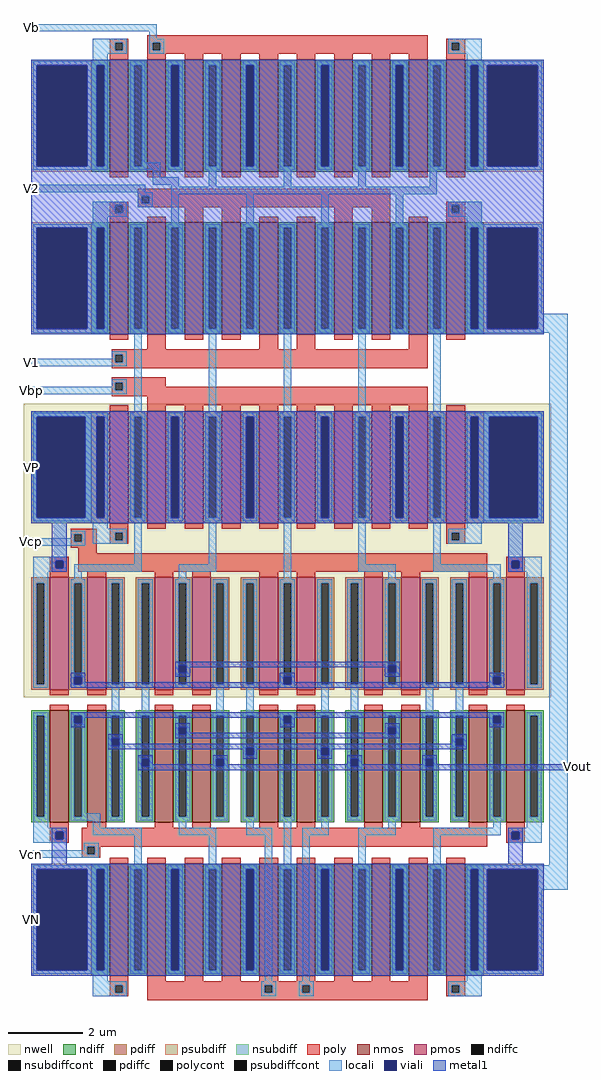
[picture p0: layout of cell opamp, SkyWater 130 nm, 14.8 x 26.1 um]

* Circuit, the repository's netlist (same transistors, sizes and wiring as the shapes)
* SPICE3 file created from opamp.ext - technology: sky130A

*.subckt opamp V1 V2 Vout Vb Vcn Vcp Vbp VP VN
X0 a_100_790# Vcp a_300_80# VP sky130_fd_pr__pfet_01v8 ad=0.75 pd=3.5 as=1.5 ps=7 w=3 l=0.5
X1 a_660_790# Vcp Vout VP sky130_fd_pr__pfet_01v8 ad=0.75 pd=3.5 as=1.5 ps=7 w=3 l=0.5
X2 a_100_790# Vcp a_300_80# VP sky130_fd_pr__pfet_01v8 ad=0.75 pd=3.5 as=1.5 ps=7 w=3 l=0.5
X3 a_300_80# Vcn a_100_80# VN sky130_fd_pr__nfet_01v8 ad=1.5 pd=7 as=0.75 ps=3.5 w=3 l=0.5
X4 a_420_3560# V1 a_100_790# VN sky130_fd_pr__nfet_01v8 ad=0.75 pd=3.5 as=0.75 ps=3.5 w=3 l=0.5
X5 a_420_3560# V2 a_660_790# VN sky130_fd_pr__nfet_01v8 ad=0.75 pd=3.5 as=0.75 ps=3.5 w=3 l=0.5
X6 a_420_3560# V1 a_100_790# VN sky130_fd_pr__nfet_01v8 ad=0.75 pd=3.5 as=0.75 ps=3.5 w=3 l=0.5
X7 Vout Vcp a_660_790# VP sky130_fd_pr__pfet_01v8 ad=1.5 pd=7 as=0.75 ps=3.5 w=3 l=0.5
X8 a_420_3560# V2 a_660_790# VN sky130_fd_pr__nfet_01v8 ad=0.75 pd=3.5 as=0.75 ps=3.5 w=3 l=0.5
X9 a_300_80# Vcp a_100_790# VP sky130_fd_pr__pfet_01v8 ad=1.5 pd=7 as=0.75 ps=3.5 w=3 l=0.5
X10 VP Vbp a_100_790# VP sky130_fd_pr__pfet_01v8 ad=0.75 pd=3.5 as=0.75 ps=3.5 w=3 l=0.5
X11 VP Vbp a_660_790# VP sky130_fd_pr__pfet_01v8 ad=0.75 pd=3.5 as=0.75 ps=3.5 w=3 l=0.5
X12 VP Vbp a_100_790# VP sky130_fd_pr__pfet_01v8 ad=0.75 pd=3.5 as=0.75 ps=3.5 w=3 l=0.5
X13 VN VN a_100_80# VN sky130_fd_pr__nfet_01v8 ad=1.5 pd=7 as=0.75 ps=3.5 w=3 l=0.5
X14 VN Vb a_420_3560# VN sky130_fd_pr__nfet_01v8 ad=0.75 pd=3.5 as=0.75 ps=3.5 w=3 l=0.5
X15 VN Vb a_420_3560# VN sky130_fd_pr__nfet_01v8 ad=0.75 pd=3.5 as=0.75 ps=3.5 w=3 l=0.5
X16 VN Vb a_420_3560# VN sky130_fd_pr__nfet_01v8 ad=0.75 pd=3.5 as=0.75 ps=3.5 w=3 l=0.5
X17 VP Vbp a_660_790# VP sky130_fd_pr__pfet_01v8 ad=0.75 pd=3.5 as=0.75 ps=3.5 w=3 l=0.5
X18 VN Vb a_420_3560# VN sky130_fd_pr__nfet_01v8 ad=0.75 pd=3.5 as=0.75 ps=3.5 w=3 l=0.5
X19 a_660_80# Vcn Vout VN sky130_fd_pr__nfet_01v8 ad=0.75 pd=3.5 as=1.5 ps=7 w=3 l=0.5
X20 a_100_80# Vcn a_300_80# VN sky130_fd_pr__nfet_01v8 ad=0.75 pd=3.5 as=1.5 ps=7 w=3 l=0.5
X21 a_100_80# VN VN VN sky130_fd_pr__nfet_01v8 ad=0.75 pd=3.5 as=1.5 ps=7 w=3 l=0.5
X22 a_100_790# VP VP VP sky130_fd_pr__pfet_01v8 ad=0.75 pd=3.5 as=1.5 ps=7 w=3 l=0.5
X23 VP VP a_100_790# VP sky130_fd_pr__pfet_01v8 ad=1.5 pd=7 as=0.75 ps=3.5 w=3 l=0.5
X24 a_660_80# a_300_80# VN VN sky130_fd_pr__nfet_01v8 ad=0.75 pd=3.5 as=0.75 ps=3.5 w=3 l=0.5
X25 a_100_80# a_300_80# VN VN sky130_fd_pr__nfet_01v8 ad=0.75 pd=3.5 as=0.75 ps=3.5 w=3 l=0.5
X26 Vout Vcp a_660_790# VP sky130_fd_pr__pfet_01v8 ad=1.5 pd=7 as=0.75 ps=3.5 w=3 l=0.5
X27 Vout Vcn a_660_80# VN sky130_fd_pr__nfet_01v8 ad=1.5 pd=7 as=0.75 ps=3.5 w=3 l=0.5
X28 a_660_80# a_300_80# VN VN sky130_fd_pr__nfet_01v8 ad=0.75 pd=3.5 as=0.75 ps=3.5 w=3 l=0.5
X29 a_300_80# Vcp a_100_790# VP sky130_fd_pr__pfet_01v8 ad=1.5 pd=7 as=0.75 ps=3.5 w=3 l=0.5
X30 a_100_80# a_300_80# VN VN sky130_fd_pr__nfet_01v8 ad=0.75 pd=3.5 as=0.75 ps=3.5 w=3 l=0.5
X31 VN VN a_100_790# VN sky130_fd_pr__nfet_01v8 ad=1.5 pd=7 as=0.75 ps=3.5 w=3 l=0.5
X32 a_100_80# Vcn a_300_80# VN sky130_fd_pr__nfet_01v8 ad=0.75 pd=3.5 as=1.5 ps=7 w=3 l=0.5
X33 a_100_790# VN VN VN sky130_fd_pr__nfet_01v8 ad=0.75 pd=3.5 as=1.5 ps=7 w=3 l=0.5
X34 a_300_80# Vcn a_100_80# VN sky130_fd_pr__nfet_01v8 ad=1.5 pd=7 as=0.75 ps=3.5 w=3 l=0.5
X35 a_660_790# V2 a_420_3560# VN sky130_fd_pr__nfet_01v8 ad=0.75 pd=3.5 as=0.75 ps=3.5 w=3 l=0.5
X36 a_100_790# V1 a_420_3560# VN sky130_fd_pr__nfet_01v8 ad=0.75 pd=3.5 as=0.75 ps=3.5 w=3 l=0.5
X37 a_660_790# V2 a_420_3560# VN sky130_fd_pr__nfet_01v8 ad=0.75 pd=3.5 as=0.75 ps=3.5 w=3 l=0.5
X38 a_100_790# V1 a_420_3560# VN sky130_fd_pr__nfet_01v8 ad=0.75 pd=3.5 as=0.75 ps=3.5 w=3 l=0.5
X39 VP VP a_100_790# VP sky130_fd_pr__pfet_01v8 ad=1.5 pd=7 as=0.75 ps=3.5 w=3 l=0.5
X40 VN VN a_420_3560# VN sky130_fd_pr__nfet_01v8 ad=1.5 pd=7 as=0.75 ps=3.5 w=3 l=0.5
X41 a_660_790# Vcp Vout VP sky130_fd_pr__pfet_01v8 ad=0.75 pd=3.5 as=1.5 ps=7 w=3 l=0.5
X42 a_100_790# VP VP VP sky130_fd_pr__pfet_01v8 ad=0.75 pd=3.5 as=1.5 ps=7 w=3 l=0.5
X43 a_420_3560# VN VN VN sky130_fd_pr__nfet_01v8 ad=0.75 pd=3.5 as=1.5 ps=7 w=3 l=0.5
X44 a_660_790# Vbp VP VP sky130_fd_pr__pfet_01v8 ad=0.75 pd=3.5 as=0.75 ps=3.5 w=3 l=0.5
X45 a_100_790# Vbp VP VP sky130_fd_pr__pfet_01v8 ad=0.75 pd=3.5 as=0.75 ps=3.5 w=3 l=0.5
X46 a_660_790# Vbp VP VP sky130_fd_pr__pfet_01v8 ad=0.75 pd=3.5 as=0.75 ps=3.5 w=3 l=0.5
X47 a_420_3560# Vb VN VN sky130_fd_pr__nfet_01v8 ad=0.75 pd=3.5 as=0.75 ps=3.5 w=3 l=0.5
X48 a_420_3560# Vb VN VN sky130_fd_pr__nfet_01v8 ad=0.75 pd=3.5 as=0.75 ps=3.5 w=3 l=0.5
X49 a_100_790# Vbp VP VP sky130_fd_pr__pfet_01v8 ad=0.75 pd=3.5 as=0.75 ps=3.5 w=3 l=0.5
X50 a_420_3560# Vb VN VN sky130_fd_pr__nfet_01v8 ad=0.75 pd=3.5 as=0.75 ps=3.5 w=3 l=0.5
X51 a_100_80# VN VN VN sky130_fd_pr__nfet_01v8 ad=0.75 pd=3.5 as=1.5 ps=7 w=3 l=0.5
X52 Vout Vcn a_660_80# VN sky130_fd_pr__nfet_01v8 ad=1.5 pd=7 as=0.75 ps=3.5 w=3 l=0.5
X53 VN VN a_100_80# VN sky130_fd_pr__nfet_01v8 ad=1.5 pd=7 as=0.75 ps=3.5 w=3 l=0.5
X54 a_420_3560# Vb VN VN sky130_fd_pr__nfet_01v8 ad=0.75 pd=3.5 as=0.75 ps=3.5 w=3 l=0.5
X55 VN a_300_80# a_100_80# VN sky130_fd_pr__nfet_01v8 ad=0.75 pd=3.5 as=0.75 ps=3.5 w=3 l=0.5
X56 a_660_80# Vcn Vout VN sky130_fd_pr__nfet_01v8 ad=0.75 pd=3.5 as=1.5 ps=7 w=3 l=0.5
X57 VN a_300_80# a_660_80# VN sky130_fd_pr__nfet_01v8 ad=0.75 pd=3.5 as=0.75 ps=3.5 w=3 l=0.5
X58 VN a_300_80# a_100_80# VN sky130_fd_pr__nfet_01v8 ad=0.75 pd=3.5 as=0.75 ps=3.5 w=3 l=0.5
X59 VN a_300_80# a_660_80# VN sky130_fd_pr__nfet_01v8 ad=0.75 pd=3.5 as=0.75 ps=3.5 w=3 l=0.5
*.ends

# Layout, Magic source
magic
tech sky130A
<< nwell >>
rect -70 375 1340 1160
<< nmos >>
rect 160 1780 210 2080
rect 260 1780 310 2080
rect 360 1780 410 2080
rect 460 1780 510 2080
rect 560 1780 610 2080
rect 660 1780 710 2080
rect 760 1780 810 2080
rect 860 1780 910 2080
rect 960 1780 1010 2080
rect 1060 1780 1110 2080
rect 160 1345 210 1645
rect 260 1345 310 1645
rect 360 1345 410 1645
rect 460 1345 510 1645
rect 560 1345 610 1645
rect 660 1345 710 1645
rect 760 1345 810 1645
rect 860 1345 910 1645
rect 960 1345 1010 1645
rect 1060 1345 1110 1645
rect 0 40 50 340
rect 100 40 150 340
rect 280 40 330 340
rect 380 40 430 340
rect 560 40 610 340
rect 660 40 710 340
rect 840 40 890 340
rect 940 40 990 340
rect 1120 40 1170 340
rect 1220 40 1270 340
rect 160 -370 210 -70
rect 260 -370 310 -70
rect 360 -370 410 -70
rect 460 -370 510 -70
rect 560 -370 610 -70
rect 660 -370 710 -70
rect 760 -370 810 -70
rect 860 -370 910 -70
rect 960 -370 1010 -70
rect 1060 -370 1110 -70
<< pmos >>
rect 160 840 210 1140
rect 260 840 310 1140
rect 360 840 410 1140
rect 460 840 510 1140
rect 560 840 610 1140
rect 660 840 710 1140
rect 760 840 810 1140
rect 860 840 910 1140
rect 960 840 1010 1140
rect 1060 840 1110 1140
rect 0 395 50 695
rect 100 395 150 695
rect 280 395 330 695
rect 380 395 430 695
rect 560 395 610 695
rect 660 395 710 695
rect 840 395 890 695
rect 940 395 990 695
rect 1120 395 1170 695
rect 1220 395 1270 695
<< ndiff >>
rect 110 2065 160 2080
rect 110 1795 125 2065
rect 145 1795 160 2065
rect 110 1780 160 1795
rect 210 2065 260 2080
rect 210 1795 225 2065
rect 245 1795 260 2065
rect 210 1780 260 1795
rect 310 2065 360 2080
rect 310 1795 325 2065
rect 345 1795 360 2065
rect 310 1780 360 1795
rect 410 2065 460 2080
rect 410 1795 425 2065
rect 445 1795 460 2065
rect 410 1780 460 1795
rect 510 2065 560 2080
rect 510 1795 525 2065
rect 545 1795 560 2065
rect 510 1780 560 1795
rect 610 2065 660 2080
rect 610 1795 625 2065
rect 645 1795 660 2065
rect 610 1780 660 1795
rect 710 2065 760 2080
rect 710 1795 725 2065
rect 745 1795 760 2065
rect 710 1780 760 1795
rect 810 2065 860 2080
rect 810 1795 825 2065
rect 845 1795 860 2065
rect 810 1780 860 1795
rect 910 2065 960 2080
rect 910 1795 925 2065
rect 945 1795 960 2065
rect 910 1780 960 1795
rect 1010 2065 1060 2080
rect 1010 1795 1025 2065
rect 1045 1795 1060 2065
rect 1010 1780 1060 1795
rect 1110 2065 1160 2080
rect 1110 1795 1125 2065
rect 1145 1795 1160 2065
rect 1110 1780 1160 1795
rect 110 1630 160 1645
rect 110 1360 125 1630
rect 145 1360 160 1630
rect 110 1345 160 1360
rect 210 1630 260 1645
rect 210 1360 225 1630
rect 245 1360 260 1630
rect 210 1345 260 1360
rect 310 1630 360 1645
rect 310 1360 325 1630
rect 345 1360 360 1630
rect 310 1345 360 1360
rect 410 1630 460 1645
rect 410 1360 425 1630
rect 445 1360 460 1630
rect 410 1345 460 1360
rect 510 1630 560 1645
rect 510 1360 525 1630
rect 545 1360 560 1630
rect 510 1345 560 1360
rect 610 1630 660 1645
rect 610 1360 625 1630
rect 645 1360 660 1630
rect 610 1345 660 1360
rect 710 1630 760 1645
rect 710 1360 725 1630
rect 745 1360 760 1630
rect 710 1345 760 1360
rect 810 1630 860 1645
rect 810 1360 825 1630
rect 845 1360 860 1630
rect 810 1345 860 1360
rect 910 1630 960 1645
rect 910 1360 925 1630
rect 945 1360 960 1630
rect 910 1345 960 1360
rect 1010 1630 1060 1645
rect 1010 1360 1025 1630
rect 1045 1360 1060 1630
rect 1010 1345 1060 1360
rect 1110 1630 1160 1645
rect 1110 1360 1125 1630
rect 1145 1360 1160 1630
rect 1110 1345 1160 1360
rect -50 325 0 340
rect -50 55 -35 325
rect -15 55 0 325
rect -50 40 0 55
rect 50 325 100 340
rect 50 55 65 325
rect 85 55 100 325
rect 50 40 100 55
rect 150 325 200 340
rect 150 55 165 325
rect 185 55 200 325
rect 150 40 200 55
rect 230 325 280 340
rect 230 55 245 325
rect 265 55 280 325
rect 230 40 280 55
rect 330 325 380 340
rect 330 55 345 325
rect 365 55 380 325
rect 330 40 380 55
rect 430 325 480 340
rect 430 55 445 325
rect 465 55 480 325
rect 430 40 480 55
rect 510 325 560 340
rect 510 55 525 325
rect 545 55 560 325
rect 510 40 560 55
rect 610 325 660 340
rect 610 55 625 325
rect 645 55 660 325
rect 610 40 660 55
rect 710 325 760 340
rect 710 55 725 325
rect 745 55 760 325
rect 710 40 760 55
rect 790 325 840 340
rect 790 55 805 325
rect 825 55 840 325
rect 790 40 840 55
rect 890 325 940 340
rect 890 55 905 325
rect 925 55 940 325
rect 890 40 940 55
rect 990 325 1040 340
rect 990 55 1005 325
rect 1025 55 1040 325
rect 990 40 1040 55
rect 1070 325 1120 340
rect 1070 55 1085 325
rect 1105 55 1120 325
rect 1070 40 1120 55
rect 1170 325 1220 340
rect 1170 55 1185 325
rect 1205 55 1220 325
rect 1170 40 1220 55
rect 1270 325 1320 340
rect 1270 55 1285 325
rect 1305 55 1320 325
rect 1270 40 1320 55
rect 110 -85 160 -70
rect 110 -355 125 -85
rect 145 -355 160 -85
rect 110 -370 160 -355
rect 210 -85 260 -70
rect 210 -355 225 -85
rect 245 -355 260 -85
rect 210 -370 260 -355
rect 310 -85 360 -70
rect 310 -355 325 -85
rect 345 -355 360 -85
rect 310 -370 360 -355
rect 410 -85 460 -70
rect 410 -355 425 -85
rect 445 -355 460 -85
rect 410 -370 460 -355
rect 510 -85 560 -70
rect 510 -355 525 -85
rect 545 -355 560 -85
rect 510 -370 560 -355
rect 610 -85 660 -70
rect 610 -355 625 -85
rect 645 -355 660 -85
rect 610 -370 660 -355
rect 710 -85 760 -70
rect 710 -355 725 -85
rect 745 -355 760 -85
rect 710 -370 760 -355
rect 810 -85 860 -70
rect 810 -355 825 -85
rect 845 -355 860 -85
rect 810 -370 860 -355
rect 910 -85 960 -70
rect 910 -355 925 -85
rect 945 -355 960 -85
rect 910 -370 960 -355
rect 1010 -85 1060 -70
rect 1010 -355 1025 -85
rect 1045 -355 1060 -85
rect 1010 -370 1060 -355
rect 1110 -85 1160 -70
rect 1110 -355 1125 -85
rect 1145 -355 1160 -85
rect 1110 -370 1160 -355
<< pdiff >>
rect 110 1125 160 1140
rect 110 855 125 1125
rect 145 855 160 1125
rect 110 840 160 855
rect 210 1125 260 1140
rect 210 855 225 1125
rect 245 855 260 1125
rect 210 840 260 855
rect 310 1125 360 1140
rect 310 855 325 1125
rect 345 855 360 1125
rect 310 840 360 855
rect 410 1125 460 1140
rect 410 855 425 1125
rect 445 855 460 1125
rect 410 840 460 855
rect 510 1125 560 1140
rect 510 855 525 1125
rect 545 855 560 1125
rect 510 840 560 855
rect 610 1125 660 1140
rect 610 855 625 1125
rect 645 855 660 1125
rect 610 840 660 855
rect 710 1125 760 1140
rect 710 855 725 1125
rect 745 855 760 1125
rect 710 840 760 855
rect 810 1125 860 1140
rect 810 855 825 1125
rect 845 855 860 1125
rect 810 840 860 855
rect 910 1125 960 1140
rect 910 855 925 1125
rect 945 855 960 1125
rect 910 840 960 855
rect 1010 1125 1060 1140
rect 1010 855 1025 1125
rect 1045 855 1060 1125
rect 1010 840 1060 855
rect 1110 1125 1160 1140
rect 1110 855 1125 1125
rect 1145 855 1160 1125
rect 1110 840 1160 855
rect -50 680 0 695
rect -50 410 -35 680
rect -15 410 0 680
rect -50 395 0 410
rect 50 680 100 695
rect 50 410 65 680
rect 85 410 100 680
rect 50 395 100 410
rect 150 680 200 695
rect 150 410 165 680
rect 185 410 200 680
rect 150 395 200 410
rect 230 680 280 695
rect 230 410 245 680
rect 265 410 280 680
rect 230 395 280 410
rect 330 680 380 695
rect 330 410 345 680
rect 365 410 380 680
rect 330 395 380 410
rect 430 680 480 695
rect 430 410 445 680
rect 465 410 480 680
rect 430 395 480 410
rect 510 680 560 695
rect 510 410 525 680
rect 545 410 560 680
rect 510 395 560 410
rect 610 680 660 695
rect 610 410 625 680
rect 645 410 660 680
rect 610 395 660 410
rect 710 680 760 695
rect 710 410 725 680
rect 745 410 760 680
rect 710 395 760 410
rect 790 680 840 695
rect 790 410 805 680
rect 825 410 840 680
rect 790 395 840 410
rect 890 680 940 695
rect 890 410 905 680
rect 925 410 940 680
rect 890 395 940 410
rect 990 680 1040 695
rect 990 410 1005 680
rect 1025 410 1040 680
rect 990 395 1040 410
rect 1070 680 1120 695
rect 1070 410 1085 680
rect 1105 410 1120 680
rect 1070 395 1120 410
rect 1170 680 1220 695
rect 1170 410 1185 680
rect 1205 410 1220 680
rect 1170 395 1220 410
rect 1270 680 1320 695
rect 1270 410 1285 680
rect 1305 410 1320 680
rect 1270 395 1320 410
<< ndiffc >>
rect 125 1795 145 2065
rect 225 1795 245 2065
rect 325 1795 345 2065
rect 425 1795 445 2065
rect 525 1795 545 2065
rect 625 1795 645 2065
rect 725 1795 745 2065
rect 825 1795 845 2065
rect 925 1795 945 2065
rect 1025 1795 1045 2065
rect 1125 1795 1145 2065
rect 125 1360 145 1630
rect 225 1360 245 1630
rect 325 1360 345 1630
rect 425 1360 445 1630
rect 525 1360 545 1630
rect 625 1360 645 1630
rect 725 1360 745 1630
rect 825 1360 845 1630
rect 925 1360 945 1630
rect 1025 1360 1045 1630
rect 1125 1360 1145 1630
rect -35 55 -15 325
rect 65 55 85 325
rect 165 55 185 325
rect 245 55 265 325
rect 345 55 365 325
rect 445 55 465 325
rect 525 55 545 325
rect 625 55 645 325
rect 725 55 745 325
rect 805 55 825 325
rect 905 55 925 325
rect 1005 55 1025 325
rect 1085 55 1105 325
rect 1185 55 1205 325
rect 1285 55 1305 325
rect 125 -355 145 -85
rect 225 -355 245 -85
rect 325 -355 345 -85
rect 425 -355 445 -85
rect 525 -355 545 -85
rect 625 -355 645 -85
rect 725 -355 745 -85
rect 825 -355 845 -85
rect 925 -355 945 -85
rect 1025 -355 1045 -85
rect 1125 -355 1145 -85
<< pdiffc >>
rect 125 855 145 1125
rect 225 855 245 1125
rect 325 855 345 1125
rect 425 855 445 1125
rect 525 855 545 1125
rect 625 855 645 1125
rect 725 855 745 1125
rect 825 855 845 1125
rect 925 855 945 1125
rect 1025 855 1045 1125
rect 1125 855 1145 1125
rect -35 410 -15 680
rect 65 410 85 680
rect 165 410 185 680
rect 245 410 265 680
rect 345 410 365 680
rect 445 410 465 680
rect 525 410 545 680
rect 625 410 645 680
rect 725 410 745 680
rect 805 410 825 680
rect 905 410 925 680
rect 1005 410 1025 680
rect 1085 410 1105 680
rect 1185 410 1205 680
rect 1285 410 1305 680
<< psubdiff >>
rect -50 2065 110 2080
rect -50 1795 -35 2065
rect 100 1795 110 2065
rect -50 1780 110 1795
rect 1160 2065 1320 2080
rect 1160 1795 1170 2065
rect 1305 1795 1320 2065
rect 1160 1780 1320 1795
rect -50 1630 110 1645
rect -50 1360 -35 1630
rect 100 1360 110 1630
rect -50 1345 110 1360
rect 1160 1630 1320 1645
rect 1160 1360 1170 1630
rect 1305 1360 1320 1630
rect 1160 1345 1320 1360
rect -50 -85 110 -70
rect -50 -355 -35 -85
rect 100 -355 110 -85
rect -50 -370 110 -355
rect 1160 -85 1320 -70
rect 1160 -355 1170 -85
rect 1305 -355 1320 -85
rect 1160 -370 1320 -355
<< nsubdiff >>
rect -50 1125 110 1140
rect -50 855 -35 1125
rect 95 855 110 1125
rect -50 840 110 855
rect 1160 1125 1320 1140
rect 1160 855 1175 1125
rect 1305 855 1320 1125
rect 1160 840 1320 855
<< psubdiffcont >>
rect -35 1795 100 2065
rect 1170 1795 1305 2065
rect -35 1360 100 1630
rect 1170 1360 1305 1630
rect -35 -355 100 -85
rect 1170 -355 1305 -85
<< nsubdiffcont >>
rect -35 855 95 1125
rect 1175 855 1305 1125
<< poly >>
rect 160 2125 210 2135
rect 160 2105 175 2125
rect 195 2105 210 2125
rect 160 2080 210 2105
rect 260 2125 1010 2145
rect 260 2105 275 2125
rect 295 2105 1010 2125
rect 260 2095 1010 2105
rect 260 2080 310 2095
rect 360 2080 410 2095
rect 460 2080 510 2095
rect 560 2080 610 2095
rect 660 2080 710 2095
rect 760 2080 810 2095
rect 860 2080 910 2095
rect 960 2080 1010 2095
rect 1060 2125 1110 2135
rect 1060 2105 1075 2125
rect 1095 2105 1110 2125
rect 1060 2080 1110 2105
rect 160 1765 210 1780
rect 260 1765 310 1780
rect 360 1765 410 1780
rect 460 1765 510 1780
rect 560 1765 610 1780
rect 660 1765 710 1780
rect 760 1765 810 1780
rect 860 1765 910 1780
rect 960 1765 1010 1780
rect 1060 1765 1110 1780
rect 235 1715 910 1735
rect 160 1690 210 1700
rect 160 1670 175 1690
rect 195 1670 210 1690
rect 235 1695 245 1715
rect 265 1695 910 1715
rect 235 1685 910 1695
rect 160 1645 210 1670
rect 260 1645 310 1660
rect 360 1645 410 1685
rect 460 1645 510 1685
rect 560 1645 610 1660
rect 660 1645 710 1660
rect 760 1645 810 1685
rect 860 1645 910 1685
rect 1060 1690 1110 1700
rect 1060 1670 1075 1690
rect 1095 1670 1110 1690
rect 960 1645 1010 1660
rect 1060 1645 1110 1670
rect 160 1330 210 1345
rect 260 1305 310 1345
rect 360 1330 410 1345
rect 460 1330 510 1345
rect 560 1305 610 1345
rect 660 1305 710 1345
rect 760 1330 810 1345
rect 860 1330 910 1345
rect 960 1305 1010 1345
rect 1060 1330 1110 1345
rect 165 1290 1010 1305
rect 165 1270 175 1290
rect 195 1270 1010 1290
rect 165 1255 1010 1270
rect 165 1215 310 1230
rect 165 1195 175 1215
rect 195 1205 310 1215
rect 195 1195 1010 1205
rect 165 1180 1010 1195
rect 260 1155 1010 1180
rect 160 1140 210 1155
rect 260 1140 310 1155
rect 360 1140 410 1155
rect 460 1140 510 1155
rect 560 1140 610 1155
rect 660 1140 710 1155
rect 760 1140 810 1155
rect 860 1140 910 1155
rect 960 1140 1010 1155
rect 1060 1140 1110 1155
rect 55 810 125 825
rect 55 790 65 810
rect 85 790 125 810
rect 55 775 125 790
rect 160 815 210 840
rect 260 825 310 840
rect 360 825 410 840
rect 460 825 510 840
rect 560 825 610 840
rect 660 825 710 840
rect 760 825 810 840
rect 860 825 910 840
rect 960 825 1010 840
rect 160 795 175 815
rect 195 795 210 815
rect 160 785 210 795
rect 1060 815 1110 840
rect 1060 795 1075 815
rect 1095 795 1110 815
rect 1060 785 1110 795
rect 75 760 125 775
rect 0 740 50 750
rect 0 720 15 740
rect 35 720 50 740
rect 0 695 50 720
rect 75 710 1170 760
rect 100 695 150 710
rect 280 695 330 710
rect 380 695 430 710
rect 560 695 610 710
rect 660 695 710 710
rect 840 695 890 710
rect 940 695 990 710
rect 1120 695 1170 710
rect 1220 740 1270 750
rect 1220 720 1235 740
rect 1255 720 1270 740
rect 1220 695 1270 720
rect 0 380 50 395
rect 100 380 150 395
rect 280 380 330 395
rect 380 380 430 395
rect 560 380 610 395
rect 660 380 710 395
rect 840 380 890 395
rect 940 380 990 395
rect 1120 380 1170 395
rect 1220 380 1270 395
rect 0 340 50 355
rect 100 340 150 355
rect 280 340 330 355
rect 380 340 430 355
rect 560 340 610 355
rect 660 340 710 355
rect 840 340 890 355
rect 940 340 990 355
rect 1120 340 1170 355
rect 1220 340 1270 355
rect 0 15 50 40
rect 100 25 150 40
rect 280 25 330 40
rect 380 25 430 40
rect 560 25 610 40
rect 660 25 710 40
rect 840 25 890 40
rect 940 25 990 40
rect 1120 25 1170 40
rect 0 -5 15 15
rect 35 -5 50 15
rect 0 -15 50 -5
rect 85 -25 1170 25
rect 1220 15 1270 40
rect 1220 -5 1235 15
rect 1255 -5 1270 15
rect 1220 -15 1270 -5
rect 85 -45 100 -25
rect 120 -45 135 -25
rect 85 -55 135 -45
rect 160 -70 210 -55
rect 260 -70 310 -55
rect 360 -70 410 -55
rect 460 -70 510 -55
rect 560 -70 610 -55
rect 660 -70 710 -55
rect 760 -70 810 -55
rect 860 -70 910 -55
rect 960 -70 1010 -55
rect 1060 -70 1110 -55
rect 160 -395 210 -370
rect 160 -415 175 -395
rect 195 -415 210 -395
rect 160 -425 210 -415
rect 260 -385 310 -370
rect 360 -385 410 -370
rect 460 -385 510 -370
rect 560 -385 610 -370
rect 660 -385 710 -370
rect 760 -385 810 -370
rect 860 -385 910 -370
rect 960 -385 1010 -370
rect 260 -395 1010 -385
rect 260 -415 575 -395
rect 595 -415 675 -395
rect 695 -415 1010 -395
rect 260 -435 1010 -415
rect 1060 -395 1110 -370
rect 1060 -415 1075 -395
rect 1095 -415 1110 -395
rect 1060 -425 1110 -415
<< polycont >>
rect 175 2105 195 2125
rect 275 2105 295 2125
rect 1075 2105 1095 2125
rect 175 1670 195 1690
rect 245 1695 265 1715
rect 1075 1670 1095 1690
rect 175 1270 195 1290
rect 175 1195 195 1215
rect 65 790 85 810
rect 175 795 195 815
rect 1075 795 1095 815
rect 15 720 35 740
rect 1235 720 1255 740
rect 15 -5 35 15
rect 1235 -5 1255 15
rect 100 -45 120 -25
rect 175 -415 195 -395
rect 575 -415 595 -395
rect 675 -415 695 -395
rect 1075 -415 1095 -395
<< locali >>
rect -50 2155 285 2175
rect 265 2135 285 2155
rect 115 2125 205 2135
rect 115 2105 175 2125
rect 195 2105 205 2125
rect 115 2095 205 2105
rect 265 2125 305 2135
rect 265 2105 275 2125
rect 295 2105 305 2125
rect 265 2095 305 2105
rect 1065 2125 1155 2135
rect 1065 2105 1075 2125
rect 1095 2105 1155 2125
rect 1065 2095 1155 2105
rect 115 2075 155 2095
rect 1115 2075 1155 2095
rect -45 2065 155 2075
rect -45 1795 -35 2065
rect 100 1795 125 2065
rect 145 1795 155 2065
rect -45 1785 155 1795
rect 215 2065 255 2075
rect 215 1795 225 2065
rect 245 1805 255 2065
rect 315 2065 355 2075
rect 245 1795 295 1805
rect 215 1785 295 1795
rect 315 1795 325 2065
rect 345 1795 355 2065
rect 315 1785 355 1795
rect 415 2065 455 2075
rect 415 1795 425 2065
rect 445 1795 455 2065
rect 415 1785 455 1795
rect 515 2065 555 2075
rect 515 1795 525 2065
rect 545 1795 555 2065
rect 515 1785 555 1795
rect 615 2065 655 2075
rect 615 1795 625 2065
rect 645 1795 655 2065
rect 615 1785 655 1795
rect 715 2065 755 2075
rect 715 1795 725 2065
rect 745 1795 755 2065
rect 715 1785 755 1795
rect 815 2065 855 2075
rect 815 1795 825 2065
rect 845 1795 855 2065
rect 815 1785 855 1795
rect 915 2065 955 2075
rect 915 1795 925 2065
rect 945 1795 955 2065
rect 915 1785 955 1795
rect 1015 2065 1055 2075
rect 1015 1795 1025 2065
rect 1045 1795 1055 2065
rect 1015 1785 1055 1795
rect 1115 2065 1315 2075
rect 1115 1795 1125 2065
rect 1145 1795 1170 2065
rect 1305 1795 1315 2065
rect 1115 1785 1315 1795
rect 275 1765 295 1785
rect 275 1745 345 1765
rect -50 1725 255 1745
rect 325 1740 345 1745
rect 425 1740 445 1785
rect 625 1740 645 1785
rect 825 1740 845 1785
rect 1015 1740 1035 1785
rect 235 1715 275 1725
rect 115 1690 205 1700
rect 115 1670 175 1690
rect 195 1670 205 1690
rect 235 1695 245 1715
rect 265 1695 275 1715
rect 235 1685 275 1695
rect 325 1720 1035 1740
rect 115 1660 205 1670
rect 115 1640 155 1660
rect 325 1640 345 1720
rect 525 1640 545 1720
rect 725 1640 745 1720
rect 925 1640 945 1720
rect 1065 1690 1155 1700
rect 1065 1670 1075 1690
rect 1095 1670 1155 1690
rect 1065 1660 1155 1670
rect 1115 1640 1155 1660
rect -45 1630 155 1640
rect -45 1360 -35 1630
rect 100 1360 125 1630
rect 145 1360 155 1630
rect -45 1350 155 1360
rect 215 1630 255 1640
rect 215 1360 225 1630
rect 245 1360 255 1630
rect 215 1350 255 1360
rect 315 1630 355 1640
rect 315 1360 325 1630
rect 345 1360 355 1630
rect 315 1350 355 1360
rect 415 1630 455 1640
rect 415 1360 425 1630
rect 445 1360 455 1630
rect 415 1350 455 1360
rect 515 1630 555 1640
rect 515 1360 525 1630
rect 545 1360 555 1630
rect 515 1350 555 1360
rect 615 1630 655 1640
rect 615 1360 625 1630
rect 645 1360 655 1630
rect 615 1350 655 1360
rect 715 1630 755 1640
rect 715 1360 725 1630
rect 745 1360 755 1630
rect 715 1350 755 1360
rect 815 1630 855 1640
rect 815 1360 825 1630
rect 845 1360 855 1630
rect 815 1350 855 1360
rect 915 1630 955 1640
rect 915 1360 925 1630
rect 945 1360 955 1630
rect 915 1350 955 1360
rect 1015 1630 1055 1640
rect 1015 1360 1025 1630
rect 1045 1360 1055 1630
rect 1015 1350 1055 1360
rect 1115 1630 1315 1640
rect 1115 1360 1125 1630
rect 1145 1360 1170 1630
rect 1305 1400 1315 1630
rect 1305 1360 1385 1400
rect 1115 1350 1385 1360
rect 165 1290 205 1300
rect 165 1280 175 1290
rect -50 1270 175 1280
rect 195 1270 205 1290
rect -50 1260 205 1270
rect 165 1215 205 1225
rect 165 1205 175 1215
rect -50 1195 175 1205
rect 195 1195 205 1215
rect -50 1185 205 1195
rect 225 1135 245 1350
rect 425 1135 445 1350
rect 625 1135 645 1350
rect 825 1135 845 1350
rect 1025 1135 1045 1350
rect -45 1125 155 1135
rect -45 855 -35 1125
rect 95 855 125 1125
rect 145 855 155 1125
rect -45 845 155 855
rect 215 1125 255 1135
rect 215 855 225 1125
rect 245 855 255 1125
rect 215 845 255 855
rect 315 1125 355 1135
rect 315 855 325 1125
rect 345 855 355 1125
rect 315 845 355 855
rect 415 1125 455 1135
rect 415 855 425 1125
rect 445 855 455 1125
rect 415 845 455 855
rect 515 1125 555 1135
rect 515 855 525 1125
rect 545 855 555 1125
rect 515 845 555 855
rect 615 1125 655 1135
rect 615 855 625 1125
rect 645 855 655 1125
rect 615 845 655 855
rect 715 1125 755 1135
rect 715 855 725 1125
rect 745 855 755 1125
rect 715 845 755 855
rect 815 1125 855 1135
rect 815 855 825 1125
rect 845 855 855 1125
rect 815 845 855 855
rect 915 1125 955 1135
rect 915 855 925 1125
rect 945 855 955 1125
rect 915 845 955 855
rect 1015 1125 1055 1135
rect 1015 855 1025 1125
rect 1045 855 1055 1125
rect 1015 845 1055 855
rect 1115 1125 1315 1135
rect 1115 855 1125 1125
rect 1145 855 1175 1125
rect 1305 855 1315 1125
rect 1115 845 1315 855
rect 115 825 155 845
rect 55 810 95 820
rect 55 800 65 810
rect -50 790 65 800
rect 85 790 95 810
rect -50 780 95 790
rect 115 815 205 825
rect 115 795 175 815
rect 195 795 205 815
rect 115 785 205 795
rect -45 740 45 750
rect -45 720 15 740
rect 35 720 45 740
rect 225 730 245 845
rect 425 730 445 845
rect -45 710 45 720
rect 65 710 245 730
rect 345 710 445 730
rect -45 680 -5 710
rect 65 690 85 710
rect 345 690 365 710
rect 625 690 645 845
rect 825 730 845 845
rect 1025 730 1045 845
rect 1115 825 1155 845
rect 1065 815 1155 825
rect 1065 795 1075 815
rect 1095 795 1155 815
rect 1065 785 1155 795
rect 1225 740 1315 750
rect 825 710 925 730
rect 1025 710 1205 730
rect 1225 720 1235 740
rect 1255 720 1315 740
rect 1225 710 1315 720
rect 905 690 925 710
rect 1185 690 1205 710
rect -45 410 -35 680
rect -15 410 -5 680
rect -45 400 -5 410
rect 55 680 95 690
rect 55 410 65 680
rect 85 410 95 680
rect 55 400 95 410
rect 155 680 195 690
rect 155 410 165 680
rect 185 410 195 680
rect 155 400 195 410
rect 235 680 275 690
rect 235 410 245 680
rect 265 410 275 680
rect 235 400 275 410
rect 335 680 375 690
rect 335 410 345 680
rect 365 410 375 680
rect 335 400 375 410
rect 435 680 475 690
rect 435 410 445 680
rect 465 410 475 680
rect 435 400 475 410
rect 515 680 555 690
rect 515 410 525 680
rect 545 410 555 680
rect 515 400 555 410
rect 615 680 655 690
rect 615 410 625 680
rect 645 410 655 680
rect 615 400 655 410
rect 715 680 755 690
rect 715 410 725 680
rect 745 410 755 680
rect 715 400 755 410
rect 795 680 835 690
rect 795 410 805 680
rect 825 410 835 680
rect 795 400 835 410
rect 895 680 935 690
rect 895 410 905 680
rect 925 410 935 680
rect 895 400 935 410
rect 995 680 1035 690
rect 995 410 1005 680
rect 1025 410 1035 680
rect 995 400 1035 410
rect 1075 680 1115 690
rect 1075 410 1085 680
rect 1105 410 1115 680
rect 1075 400 1115 410
rect 1175 680 1215 690
rect 1175 410 1185 680
rect 1205 410 1215 680
rect 1175 400 1215 410
rect 1275 680 1315 710
rect 1275 410 1285 680
rect 1305 410 1315 680
rect 1275 400 1315 410
rect 165 335 185 400
rect 245 335 265 400
rect 445 335 465 400
rect 525 335 545 400
rect 725 335 745 400
rect 805 335 825 400
rect 1005 335 1025 400
rect 1085 335 1105 400
rect -45 325 -5 335
rect -45 55 -35 325
rect -15 55 -5 325
rect -45 25 -5 55
rect 55 325 95 335
rect 55 55 65 325
rect 85 65 95 325
rect 155 325 195 335
rect 85 55 135 65
rect 55 45 135 55
rect 155 55 165 325
rect 185 55 195 325
rect 155 45 195 55
rect 235 325 275 335
rect 235 55 245 325
rect 265 55 275 325
rect 235 45 275 55
rect 335 325 375 335
rect 335 55 345 325
rect 365 55 375 325
rect 335 45 375 55
rect 435 325 475 335
rect 435 55 445 325
rect 465 55 475 325
rect 435 45 475 55
rect 515 325 555 335
rect 515 55 525 325
rect 545 55 555 325
rect 515 45 555 55
rect 615 325 655 335
rect 615 55 625 325
rect 645 55 655 325
rect 615 45 655 55
rect 715 325 755 335
rect 715 55 725 325
rect 745 55 755 325
rect 715 45 755 55
rect 795 325 835 335
rect 795 55 805 325
rect 825 55 835 325
rect 795 45 835 55
rect 895 325 935 335
rect 895 55 905 325
rect 925 55 935 325
rect 895 45 935 55
rect 995 325 1035 335
rect 995 55 1005 325
rect 1025 55 1035 325
rect 995 45 1035 55
rect 1075 325 1115 335
rect 1075 55 1085 325
rect 1105 55 1115 325
rect 1075 45 1115 55
rect 1175 325 1215 335
rect 1175 55 1185 325
rect 1205 55 1215 325
rect 1175 45 1215 55
rect 1275 325 1315 335
rect 1275 55 1285 325
rect 1305 55 1315 325
rect 115 25 135 45
rect 345 25 365 45
rect 525 25 545 45
rect -45 15 45 25
rect -45 -5 15 15
rect 35 -5 45 15
rect 115 5 245 25
rect 345 5 445 25
rect 525 5 595 25
rect -45 -15 45 -5
rect 90 -25 130 -15
rect 90 -35 100 -25
rect -50 -45 100 -35
rect 120 -45 130 -25
rect -50 -55 130 -45
rect 225 -75 245 5
rect 425 -75 445 5
rect -45 -85 155 -75
rect -45 -355 -35 -85
rect 100 -355 125 -85
rect 145 -355 155 -85
rect -45 -365 155 -355
rect 215 -85 255 -75
rect 215 -355 225 -85
rect 245 -355 255 -85
rect 215 -365 255 -355
rect 315 -85 355 -75
rect 315 -355 325 -85
rect 345 -355 355 -85
rect 315 -365 355 -355
rect 415 -85 455 -75
rect 415 -355 425 -85
rect 445 -355 455 -85
rect 415 -365 455 -355
rect 515 -85 555 -75
rect 515 -355 525 -85
rect 545 -355 555 -85
rect 515 -365 555 -355
rect 115 -385 155 -365
rect 575 -385 595 5
rect 625 -75 645 45
rect 725 25 745 45
rect 905 25 925 45
rect 1185 25 1205 45
rect 1275 25 1315 55
rect 675 5 745 25
rect 825 5 925 25
rect 1025 5 1205 25
rect 1225 15 1315 25
rect 615 -85 655 -75
rect 615 -355 625 -85
rect 645 -355 655 -85
rect 615 -365 655 -355
rect 675 -385 695 5
rect 825 -75 845 5
rect 1025 -75 1045 5
rect 1225 -5 1235 15
rect 1255 -5 1315 15
rect 1225 -15 1315 -5
rect 1335 -75 1385 1350
rect 715 -85 755 -75
rect 715 -355 725 -85
rect 745 -355 755 -85
rect 715 -365 755 -355
rect 815 -85 855 -75
rect 815 -355 825 -85
rect 845 -355 855 -85
rect 815 -365 855 -355
rect 915 -85 955 -75
rect 915 -355 925 -85
rect 945 -355 955 -85
rect 915 -365 955 -355
rect 1015 -85 1055 -75
rect 1015 -355 1025 -85
rect 1045 -355 1055 -85
rect 1015 -365 1055 -355
rect 1115 -85 1385 -75
rect 1115 -355 1125 -85
rect 1145 -355 1170 -85
rect 1305 -140 1385 -85
rect 1305 -355 1315 -140
rect 1115 -365 1315 -355
rect 1115 -385 1155 -365
rect 115 -395 205 -385
rect 115 -415 175 -395
rect 195 -415 205 -395
rect 115 -425 205 -415
rect 565 -395 605 -385
rect 565 -415 575 -395
rect 595 -415 605 -395
rect 565 -425 605 -415
rect 665 -395 705 -385
rect 665 -415 675 -395
rect 695 -415 705 -395
rect 665 -425 705 -415
rect 1065 -395 1155 -385
rect 1065 -415 1075 -395
rect 1095 -415 1155 -395
rect 1065 -425 1155 -415
<< viali >>
rect -35 1795 100 2065
rect 125 1795 145 2065
rect 325 1795 345 2065
rect 525 1795 545 2065
rect 725 1795 745 2065
rect 925 1795 945 2065
rect 1125 1795 1145 2065
rect 1170 1795 1305 2065
rect -35 1360 100 1630
rect 125 1360 145 1630
rect 1125 1360 1145 1630
rect 1170 1360 1305 1630
rect -35 855 95 1125
rect 125 855 145 1125
rect 325 855 345 1125
rect 525 855 545 1125
rect 725 855 745 1125
rect 925 855 945 1125
rect 1125 855 1145 1125
rect 1175 855 1305 1125
rect 15 720 35 740
rect 1235 720 1255 740
rect 65 410 85 430
rect 345 440 365 460
rect 625 410 645 430
rect 905 440 925 460
rect 1185 410 1205 430
rect 65 305 85 325
rect 165 245 185 265
rect 245 190 265 210
rect 345 275 365 295
rect 445 190 465 210
rect 525 220 545 240
rect 625 305 645 325
rect 725 220 745 240
rect 805 190 825 210
rect 905 275 925 295
rect 1005 190 1025 210
rect 1085 245 1105 265
rect 1185 305 1205 325
rect 15 -5 35 15
rect -35 -355 100 -85
rect 125 -355 145 -85
rect 325 -355 345 -85
rect 525 -355 545 -85
rect 1235 -5 1255 15
rect 725 -355 745 -85
rect 925 -355 945 -85
rect 1125 -355 1145 -85
rect 1170 -355 1305 -85
<< metal1 >>
rect -50 2065 1320 2080
rect -50 1795 -35 2065
rect 100 1795 125 2065
rect 145 1795 325 2065
rect 345 1795 525 2065
rect 545 1795 725 2065
rect 745 1795 925 2065
rect 945 1795 1125 2065
rect 1145 1795 1170 2065
rect 1305 1795 1320 2065
rect -50 1630 1320 1795
rect -50 1360 -35 1630
rect 100 1360 125 1630
rect 145 1360 1125 1630
rect 1145 1360 1170 1630
rect 1305 1360 1320 1630
rect -50 1345 1320 1360
rect -50 1125 1320 1140
rect -50 855 -35 1125
rect 95 855 125 1125
rect 145 855 325 1125
rect 345 855 525 1125
rect 545 855 725 1125
rect 745 855 925 1125
rect 945 855 1125 1125
rect 1145 855 1175 1125
rect 1305 855 1320 1125
rect -50 840 1320 855
rect 5 740 45 840
rect 5 720 15 740
rect 35 720 45 740
rect 5 710 45 720
rect 1225 740 1265 840
rect 1225 720 1235 740
rect 1255 720 1265 740
rect 1225 710 1265 720
rect 335 460 935 470
rect 335 440 345 460
rect 365 455 905 460
rect 365 440 375 455
rect 895 440 905 455
rect 925 440 935 460
rect 55 430 95 440
rect 335 430 375 440
rect 615 430 655 440
rect 895 430 935 440
rect 1175 430 1215 440
rect 55 410 65 430
rect 85 415 95 430
rect 615 415 625 430
rect 85 410 625 415
rect 645 415 655 430
rect 1175 415 1185 430
rect 645 410 1185 415
rect 1205 410 1215 430
rect 55 400 1215 410
rect 55 325 1215 335
rect 55 305 65 325
rect 85 320 625 325
rect 85 305 95 320
rect 615 305 625 320
rect 645 320 1185 325
rect 645 305 655 320
rect 1175 305 1185 320
rect 1205 305 1215 325
rect 55 295 95 305
rect 335 295 375 305
rect 615 295 655 305
rect 895 295 935 305
rect 1175 295 1215 305
rect 335 275 345 295
rect 365 280 375 295
rect 895 280 905 295
rect 365 275 905 280
rect 925 275 935 295
rect 155 265 195 275
rect 335 265 935 275
rect 1075 265 1115 275
rect 155 245 165 265
rect 185 250 195 265
rect 1075 250 1085 265
rect 185 245 1085 250
rect 1105 245 1115 265
rect 155 240 1115 245
rect 155 235 525 240
rect 515 220 525 235
rect 545 235 725 240
rect 545 220 555 235
rect 235 210 275 220
rect 235 190 245 210
rect 265 195 275 210
rect 435 210 475 220
rect 515 210 555 220
rect 715 220 725 235
rect 745 235 1115 240
rect 745 220 755 235
rect 715 210 755 220
rect 795 210 835 220
rect 435 195 445 210
rect 265 190 445 195
rect 465 195 475 210
rect 795 195 805 210
rect 465 190 805 195
rect 825 195 835 210
rect 995 210 1035 220
rect 995 195 1005 210
rect 825 190 1005 195
rect 1025 195 1035 210
rect 1025 190 1410 195
rect 235 180 1410 190
rect 5 15 45 25
rect 5 -5 15 15
rect 35 -5 45 15
rect 5 -70 45 -5
rect 1225 15 1265 25
rect 1225 -5 1235 15
rect 1255 -5 1265 15
rect 1225 -70 1265 -5
rect -50 -85 1320 -70
rect -50 -355 -35 -85
rect 100 -355 125 -85
rect 145 -355 325 -85
rect 345 -355 525 -85
rect 545 -355 725 -85
rect 745 -355 925 -85
rect 945 -355 1125 -85
rect 1145 -355 1170 -85
rect 1305 -355 1320 -85
rect -50 -370 1320 -355
<< labels >>
flabel locali -50 1270 -50 1270 7 FreeSans 160 0 0 0 V1
port 1 w
flabel locali -50 1735 -50 1735 7 FreeSans 160 0 0 0 V2
port 2 w
flabel metal1 1410 190 1410 190 3 FreeSans 160 0 0 0 Vout
port 3 e
flabel locali -50 2165 -50 2165 7 FreeSans 160 0 0 0 Vb
port 4 w
flabel locali -50 -45 -50 -45 7 FreeSans 160 0 0 0 Vcn
port 5 w
flabel locali -50 790 -50 790 7 FreeSans 160 0 0 0 Vcp
port 6 w
flabel locali -50 1195 -50 1195 7 FreeSans 160 0 0 0 Vbp
port 7 w
flabel metal1 -50 990 -50 990 7 FreeSans 160 0 0 0 VP
port 8 w
flabel metal1 -50 -220 -50 -220 7 FreeSans 160 0 0 0 VN
port 9 w
<< end >>
